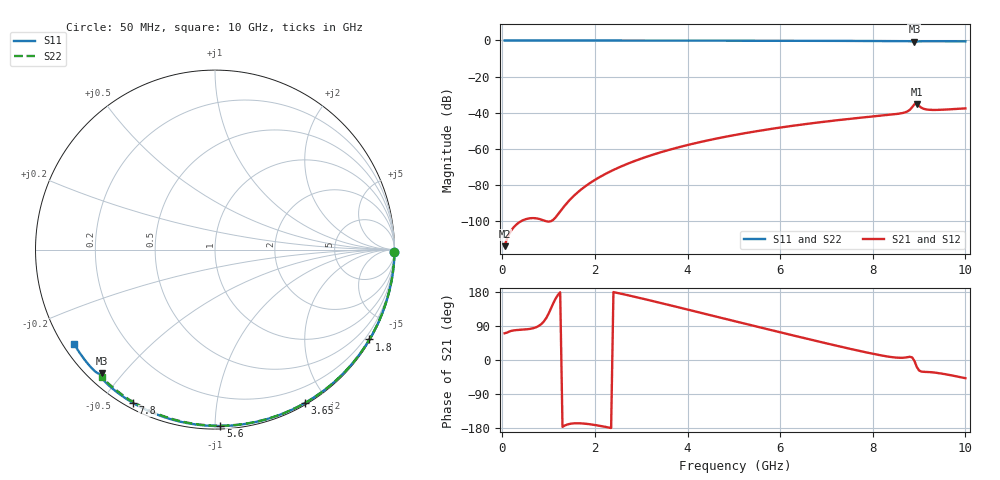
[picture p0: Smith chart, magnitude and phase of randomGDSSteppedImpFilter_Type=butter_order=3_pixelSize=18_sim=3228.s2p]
! freq	dB(S11)	phase(S11)	dB(S12)	phase(S12)
!  dB(S21)	phase(S21)	dB(S22)	phase(S22)
!S-par simulation data
#  GHz  S  DB  R 50
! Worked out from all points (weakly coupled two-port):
!   200 points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, 50 MHz to 10 GHz, reference 50 ohm
!   highest |S21| = -35.12 dB at 8.95 GHz (marker M1); lowest = -113.8 dB at 50 MHz (marker M2)
!   lowest |S11| = -0.6 dB at 8.9 GHz (marker M3), VSWR 28.99, Z = 2.06 - j21.9 ohm
!   |S11| at or under -10 dB: nowhere
!   |S22| runs from -0.4 to 0.0 dB; largest |S21 - S12| = 0
!   S11 on the Smith chart (normalised r, x): 50 MHz: open; 1.8 GHz: 0.03, -3.71; 3.65 GHz: 0.02, -1.75; 5.6 GHz: 0.02, -1.03; 7.8 GHz: 0.02, -0.60; 10 GHz: 0.03, -0.30
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0.05  -0.00 -0.9  -113.80 70.5  -113.80 70.5  -0.00 -0.8
0.9  -0.02 -15.2  -99.61 102.1  -99.61 102.1  -0.02 -13.6
1.75  -0.04 -29.3  -81.49 -167.7  -81.49 -167.7  -0.03 -26.2
1.8  -0.04 -30.2  -80.54 -168.2  -80.54 -168.2  -0.03 -27.0
2.2  -0.05 -36.7  -74.20 -175.8  -74.20 -175.8  -0.04 -32.8
2.55  -0.05 -42.3  -69.88 175.3  -69.88 175.3  -0.05 -37.9
3.4  -0.07 -55.7  -62.03 151.1  -62.03 151.1  -0.07 -50.0
3.65  -0.08 -59.6  -60.19 143.7  -60.19 143.7  -0.07 -53.4
4.3  -0.10 -69.4  -56.05 124.1  -56.05 124.1  -0.09 -62.3
5.05  -0.12 -80.4  -52.16 101.5  -52.16 101.5  -0.11 -72.3
5.6  -0.15 -88.3  -49.76 85.0  -49.76 85.0  -0.13 -79.4
6.7  -0.20 -103.5  -45.76 52.6  -45.76 52.6  -0.18 -93.2
7.8  -0.28 -118.1  -42.57 21.6  -42.57 21.6  -0.25 -106.4
8.35  -0.33 -125.4  -41.17 8.6  -41.17 8.6  -0.29 -112.8
8.6  -0.36 -128.7  -40.36 5.8  -40.36 5.8  -0.31 -115.7
8.75  -0.40 -130.9  -39.24 7.5  -39.24 7.5  -0.33 -117.4
8.8  -0.44 -131.7  -38.36 8.4  -38.36 8.4  -0.33 -117.9
8.9  -0.60 -132.6  -35.29 -2.4  -35.29 -2.4  -0.33 -119.0
8.95  -0.59 -132.3  -35.12 -18.4  -35.12 -18.4  -0.32 -119.6
9.05  -0.45 -133.4  -37.22 -30.5  -37.22 -30.5  -0.34 -120.8
9.2  -0.42 -135.7  -38.32 -31.7  -38.32 -31.7  -0.36 -122.5
10  -0.49 -146.3  -37.57 -48.0  -37.57 -48.0  -0.44 -131.6
